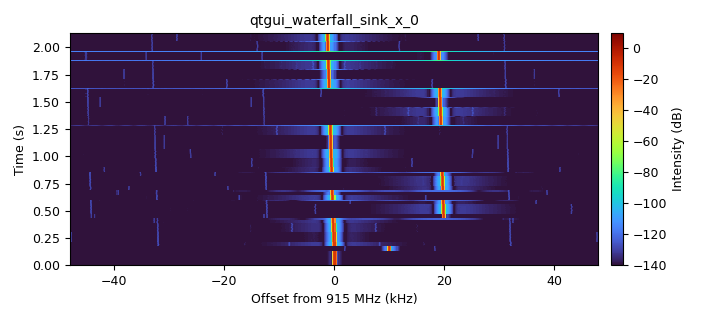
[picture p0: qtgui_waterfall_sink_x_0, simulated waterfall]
<?xml version='1.0' encoding='utf-8'?>
<?grc format='1' created='3.7.10'?>
<flow_graph>
<block>
<key>options</key>
<param><key>id</key><value>top_block</value></param>
<param><key>category</key><value>Custom</value></param>
<param><key>generate_options</key><value>qt_gui</value></param>
</block>
<block>
<key>variable</key>
<param><key>id</key><value>baud_rate</value></param>
<param><key>value</key><value>9.6e3</value></param>
</block>
<block>
<key>variable_function_probe</key>
<param><key>id</key><value>doppler</value></param>
<param><key>block_id</key><value>probe_triangle</value></param>
<param><key>function_name</key><value>level</value></param>
<param><key>value</key><value>0</value></param>
<param><key>poll_rate</key><value>samp_rate</value></param>
</block>
<block>
<key>variable</key>
<param><key>id</key><value>freq</value></param>
<param><key>value</key><value>915000000</value></param>
</block>
<block>
<key>variable</key>
<param><key>id</key><value>fsk_deviation_hz</value></param>
<param><key>value</key><value>20e3</value></param>
</block>
<block>
<key>variable_function_probe</key>
<param><key>id</key><value>infile</value></param>
<param><key>block_id</key><value>probe_file</value></param>
<param><key>function_name</key><value>level</value></param>
<param><key>value</key><value>0</value></param>
<param><key>poll_rate</key><value>samp_rate</value></param>
</block>
<block>
<key>variable</key>
<param><key>id</key><value>samp_rate</value></param>
<param><key>value</key><value>sps*baud_rate</value></param>
</block>
<block>
<key>variable</key>
<param><key>id</key><value>samp_rate_tx</value></param>
<param><key>value</key><value>2e6</value></param>
</block>
<block>
<key>variable</key>
<param><key>id</key><value>sps</value></param>
<param><key>value</key><value>10</value></param>
</block>
<block>
<key>analog_const_source_x</key>
<param><key>id</key><value>analog_const_source_x_1</value></param>
<param><key>const</key><value>1</value></param>
<param><key>_enabled</key><value>0</value></param>
<param><key>type</key><value>complex</value></param>
</block>
<block>
<key>analog_const_source_x</key>
<param><key>id</key><value>analog_const_source_x_1_0</value></param>
<param><key>const</key><value>1</value></param>
<param><key>type</key><value>complex</value></param>
</block>
<block>
<key>analog_quadrature_demod_cf</key>
<param><key>id</key><value>analog_quadrature_demod_cf_0</value></param>
<param><key>_enabled</key><value>0</value></param>
<param><key>gain</key><value>samp_rate/(2*math.pi*fsk_deviation_hz/8.0)</value></param>
</block>
<block>
<key>analog_sig_source_x</key>
<param><key>id</key><value>analog_sig_source_x_0</value></param>
<param><key>amp</key><value>2</value></param>
<param><key>freq</key><value>0.016</value></param>
<param><key>offset</key><value>-1</value></param>
<param><key>type</key><value>float</value></param>
<param><key>samp_rate</key><value>samp_rate</value></param>
<param><key>waveform</key><value>analog.GR_TRI_WAVE</value></param>
</block>
<block>
<key>analog_sig_source_x</key>
<param><key>id</key><value>analog_sig_source_x_1</value></param>
<param><key>amp</key><value>1</value></param>
<param><key>freq</key><value>10000*doppler</value></param>
<param><key>offset</key><value>0</value></param>
<param><key>type</key><value>complex</value></param>
<param><key>samp_rate</key><value>samp_rate</value></param>
<param><key>waveform</key><value>analog.GR_COS_WAVE</value></param>
</block>
<block>
<key>analog_sig_source_x</key>
<param><key>id</key><value>analog_sig_source_x_1_0</value></param>
<param><key>amp</key><value>1</value></param>
<param><key>_enabled</key><value>0</value></param>
<param><key>freq</key><value>-10000*doppler</value></param>
<param><key>offset</key><value>0</value></param>
<param><key>type</key><value>complex</value></param>
<param><key>samp_rate</key><value>samp_rate*2</value></param>
<param><key>waveform</key><value>analog.GR_COS_WAVE</value></param>
</block>
<block>
<key>analog_sig_source_x</key>
<param><key>id</key><value>analog_sig_source_x_2</value></param>
<param><key>amp</key><value>1</value></param>
<param><key>freq</key><value>10000*infile</value></param>
<param><key>offset</key><value>0</value></param>
<param><key>type</key><value>complex</value></param>
<param><key>samp_rate</key><value>samp_rate</value></param>
<param><key>waveform</key><value>analog.GR_COS_WAVE</value></param>
</block>
<block>
<key>blocks_add_const_vxx</key>
<param><key>id</key><value>blocks_add_const_vxx_0</value></param>
<param><key>const</key><value>-4</value></param>
<param><key>_enabled</key><value>0</value></param>
<param><key>type</key><value>float</value></param>
</block>
<block>
<key>blocks_multiply_const_vxx</key>
<param><key>id</key><value>blocks_multiply_const_vxx_0</value></param>
<param><key>const</key><value>0.8</value></param>
<param><key>type</key><value>complex</value></param>
</block>
<block>
<key>blocks_multiply_const_vxx</key>
<param><key>id</key><value>blocks_multiply_const_vxx_1</value></param>
<param><key>const</key><value>0.25</value></param>
<param><key>_enabled</key><value>0</value></param>
<param><key>type</key><value>float</value></param>
</block>
<block>
<key>blocks_multiply_xx</key>
<param><key>id</key><value>blocks_multiply_xx_0</value></param>
<param><key>type</key><value>complex</value></param>
</block>
<block>
<key>blocks_multiply_xx</key>
<param><key>id</key><value>blocks_multiply_xx_1</value></param>
<param><key>type</key><value>complex</value></param>
</block>
<block>
<key>blocks_throttle</key>
<param><key>id</key><value>blocks_throttle_0</value></param>
<param><key>samples_per_second</key><value>samp_rate</value></param>
<param><key>type</key><value>float</value></param>
</block>
<block>
<key>blocks_throttle</key>
<param><key>id</key><value>blocks_throttle_0_0</value></param>
<param><key>samples_per_second</key><value>samp_rate</value></param>
<param><key>type</key><value>float</value></param>
</block>
<block>
<key>blocks_throttle</key>
<param><key>id</key><value>blocks_throttle_0_0_0</value></param>
<param><key>samples_per_second</key><value>samp_rate</value></param>
<param><key>type</key><value>complex</value></param>
</block>
<block>
<key>blocks_throttle</key>
<param><key>id</key><value>blocks_throttle_0_0_0_0</value></param>
<param><key>samples_per_second</key><value>samp_rate</value></param>
<param><key>type</key><value>complex</value></param>
</block>
<block>
<key>blocks_throttle</key>
<param><key>id</key><value>blocks_throttle_0_0_0_0_0</value></param>
<param><key>samples_per_second</key><value>samp_rate</value></param>
<param><key>type</key><value>complex</value></param>
</block>
<block>
<key>blocks_udp_sink</key>
<param><key>id</key><value>blocks_udp_sink_0</value></param>
<param><key>ipaddr</key><value>192.168.1.128</value></param>
<param><key>port</key><value>1234</value></param>
<param><key>type</key><value>float</value></param>
<param><key>psize</key><value>1472</value></param>
<param><key>eof</key><value>True</value></param>
<param><key>vlen</key><value>1</value></param>
</block>
<block>
<key>blocks_vector_source_x</key>
<param><key>id</key><value>blocks_vector_source_x_0</value></param>
<param><key>type</key><value>float</value></param>
<param><key>repeat</key><value>True</value></param>
<param><key>vector</key><value>[-1,-1,-1,-1,-1,1,-1,1,-1,1,1,1,1]</value></param>
</block>
<block>
<key>osmosdr_sink</key>
<param><key>id</key><value>osmosdr_sink_0</value></param>
<param><key>bb_gain0</key><value>20</value></param>
<param><key>freq0</key><value>freq</value></param>
<param><key>if_gain0</key><value>20</value></param>
<param><key>gain0</key><value>10</value></param>
<param><key>args</key><value></value></param>
<param><key>_enabled</key><value>0</value></param>
<param><key>type</key><value>fc32</value></param>
<param><key>sample_rate</key><value>samp_rate_tx</value></param>
<param><key>sync</key><value></value></param>
</block>
<block>
<key>blocks_probe_signal_x</key>
<param><key>id</key><value>probe_file</value></param>
<param><key>type</key><value>float</value></param>
</block>
<block>
<key>blocks_probe_signal_x</key>
<param><key>id</key><value>probe_triangle</value></param>
<param><key>type</key><value>float</value></param>
</block>
<block>
<key>qtgui_freq_sink_x</key>
<param><key>id</key><value>qtgui_freq_sink_x_0</value></param>
<param><key>autoscale</key><value>True</value></param>
<param><key>bw</key><value>samp_rate*3</value></param>
<param><key>fc</key><value>freq</value></param>
<param><key>_enabled</key><value>0</value></param>
<param><key>fftsize</key><value>1024</value></param>
<param><key>grid</key><value>True</value></param>
<param><key>showports</key><value>True</value></param>
<param><key>type</key><value>complex</value></param>
<param><key>wintype</key><value>firdes.WIN_BLACKMAN_hARRIS</value></param>
</block>
<block>
<key>qtgui_number_sink</key>
<param><key>id</key><value>qtgui_number_sink_0</value></param>
<param><key>_enabled</key><value>0</value></param>
<param><key>graph_type</key><value>qtgui.NUM_GRAPH_HORIZ</value></param>
<param><key>type</key><value>float</value></param>
<param><key>update_time</key><value>0.05</value></param>
</block>
<block>
<key>qtgui_time_sink_x</key>
<param><key>id</key><value>qtgui_time_sink_x_0</value></param>
<param><key>_enabled</key><value>0</value></param>
<param><key>color1</key><value>"blue"</value></param>
<param><key>label1</key><value></value></param>
<param><key>size</key><value>1024</value></param>
<param><key>srate</key><value>samp_rate</value></param>
<param><key>type</key><value>float</value></param>
</block>
<block>
<key>qtgui_time_sink_x</key>
<param><key>id</key><value>qtgui_time_sink_x_2</value></param>
<param><key>_enabled</key><value>0</value></param>
<param><key>color1</key><value>"blue"</value></param>
<param><key>label1</key><value></value></param>
<param><key>size</key><value>1024</value></param>
<param><key>srate</key><value>samp_rate</value></param>
<param><key>type</key><value>float</value></param>
</block>
<block>
<key>qtgui_time_sink_x</key>
<param><key>id</key><value>qtgui_time_sink_x_3</value></param>
<param><key>_enabled</key><value>0</value></param>
<param><key>grid</key><value>True</value></param>
<param><key>color1</key><value>"blue"</value></param>
<param><key>label1</key><value></value></param>
<param><key>size</key><value>1024</value></param>
<param><key>srate</key><value>samp_rate</value></param>
<param><key>type</key><value>float</value></param>
<param><key>update_time</key><value>0.05</value></param>
</block>
<block>
<key>qtgui_waterfall_sink_x</key>
<param><key>id</key><value>qtgui_waterfall_sink_x_0</value></param>
<param><key>bw</key><value>samp_rate</value></param>
<param><key>fc</key><value>freq</value></param>
<param><key>fftsize</key><value>1024</value></param>
<param><key>grid</key><value>True</value></param>
<param><key>showports</key><value>True</value></param>
<param><key>type</key><value>complex</value></param>
<param><key>update_time</key><value>0.005</value></param>
<param><key>wintype</key><value>firdes.WIN_BLACKMAN_hARRIS</value></param>
</block>
<block>
<key>rational_resampler_xxx</key>
<param><key>id</key><value>rational_resampler_xxx_0</value></param>
<param><key>decim</key><value>int(samp_rate)</value></param>
<param><key>_enabled</key><value>0</value></param>
<param><key>interp</key><value>int(samp_rate_tx)</value></param>
<param><key>taps</key><value></value></param>
<param><key>type</key><value>ccc</value></param>
</block>
<connection><source_block_id>analog_const_source_x_1</source_block_id><sink_block_id>blocks_throttle_0_0_0_0</sink_block_id><source_key>0</source_key><sink_key>0</sink_key></connection>
<connection><source_block_id>analog_const_source_x_1_0</source_block_id><sink_block_id>blocks_throttle_0_0_0_0_0</sink_block_id><source_key>0</source_key><sink_key>0</sink_key></connection>
<connection><source_block_id>analog_quadrature_demod_cf_0</source_block_id><sink_block_id>blocks_add_const_vxx_0</sink_block_id><source_key>0</source_key><sink_key>0</sink_key></connection>
<connection><source_block_id>analog_sig_source_x_0</source_block_id><sink_block_id>blocks_throttle_0_0</sink_block_id><source_key>0</source_key><sink_key>0</sink_key></connection>
<connection><source_block_id>analog_sig_source_x_1</source_block_id><sink_block_id>blocks_throttle_0_0_0_0</sink_block_id><source_key>0</source_key><sink_key>0</sink_key></connection>
<connection><source_block_id>analog_sig_source_x_1_0</source_block_id><sink_block_id>blocks_throttle_0_0_0_0_0</sink_block_id><source_key>0</source_key><sink_key>0</sink_key></connection>
<connection><source_block_id>analog_sig_source_x_2</source_block_id><sink_block_id>blocks_throttle_0_0_0</sink_block_id><source_key>0</source_key><sink_key>0</sink_key></connection>
<connection><source_block_id>blocks_add_const_vxx_0</source_block_id><sink_block_id>blocks_multiply_const_vxx_1</sink_block_id><source_key>0</source_key><sink_key>0</sink_key></connection>
<connection><source_block_id>blocks_multiply_const_vxx_0</source_block_id><sink_block_id>analog_quadrature_demod_cf_0</sink_block_id><source_key>0</source_key><sink_key>0</sink_key></connection>
<connection><source_block_id>blocks_multiply_const_vxx_0</source_block_id><sink_block_id>qtgui_freq_sink_x_0</sink_block_id><source_key>0</source_key><sink_key>0</sink_key></connection>
<connection><source_block_id>blocks_multiply_const_vxx_0</source_block_id><sink_block_id>qtgui_waterfall_sink_x_0</sink_block_id><source_key>0</source_key><sink_key>0</sink_key></connection>
<connection><source_block_id>blocks_multiply_const_vxx_0</source_block_id><sink_block_id>rational_resampler_xxx_0</sink_block_id><source_key>0</source_key><sink_key>0</sink_key></connection>
<connection><source_block_id>blocks_multiply_const_vxx_1</source_block_id><sink_block_id>qtgui_number_sink_0</sink_block_id><source_key>0</source_key><sink_key>0</sink_key></connection>
<connection><source_block_id>blocks_multiply_const_vxx_1</source_block_id><sink_block_id>qtgui_time_sink_x_3</sink_block_id><source_key>0</source_key><sink_key>0</sink_key></connection>
<connection><source_block_id>blocks_multiply_xx_0</source_block_id><sink_block_id>blocks_multiply_xx_1</sink_block_id><source_key>0</source_key><sink_key>1</sink_key></connection>
<connection><source_block_id>blocks_multiply_xx_1</source_block_id><sink_block_id>blocks_multiply_const_vxx_0</sink_block_id><source_key>0</source_key><sink_key>0</sink_key></connection>
<connection><source_block_id>blocks_throttle_0</source_block_id><sink_block_id>probe_file</sink_block_id><source_key>0</source_key><sink_key>0</sink_key></connection>
<connection><source_block_id>blocks_throttle_0</source_block_id><sink_block_id>qtgui_time_sink_x_2</sink_block_id><source_key>0</source_key><sink_key>0</sink_key></connection>
<connection><source_block_id>blocks_throttle_0_0</source_block_id><sink_block_id>blocks_udp_sink_0</sink_block_id><source_key>0</source_key><sink_key>0</sink_key></connection>
<connection><source_block_id>blocks_throttle_0_0</source_block_id><sink_block_id>probe_triangle</sink_block_id><source_key>0</source_key><sink_key>0</sink_key></connection>
<connection><source_block_id>blocks_throttle_0_0</source_block_id><sink_block_id>qtgui_time_sink_x_0</sink_block_id><source_key>0</source_key><sink_key>0</sink_key></connection>
<connection><source_block_id>blocks_throttle_0_0_0</source_block_id><sink_block_id>blocks_multiply_xx_0</sink_block_id><source_key>0</source_key><sink_key>1</sink_key></connection>
<connection><source_block_id>blocks_throttle_0_0_0_0</source_block_id><sink_block_id>blocks_multiply_xx_0</sink_block_id><source_key>0</source_key><sink_key>0</sink_key></connection>
<connection><source_block_id>blocks_throttle_0_0_0_0_0</source_block_id><sink_block_id>blocks_multiply_xx_1</sink_block_id><source_key>0</source_key><sink_key>0</sink_key></connection>
<connection><source_block_id>blocks_vector_source_x_0</source_block_id><sink_block_id>blocks_throttle_0</sink_block_id><source_key>0</source_key><sink_key>0</sink_key></connection>
<connection><source_block_id>rational_resampler_xxx_0</source_block_id><sink_block_id>osmosdr_sink_0</sink_block_id><source_key>0</source_key><sink_key>0</sink_key></connection>
</flow_graph>
